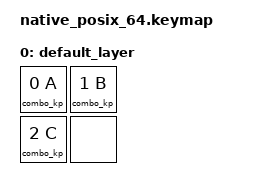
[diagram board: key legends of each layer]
#include <dt-bindings/zmk/keys.h>
#include <behaviors.dtsi>
#include <dt-bindings/zmk/kscan_mock.h>

/*
    combo 01 timeout 50
    combo 012 timeout 100
    AB is pressed within 50ms, C is never pressed.
    expected outcome: AB after 100ms
*/
/ {
    combos {
        compatible = "zmk,combos";
        combo_two {
            timeout-ms = <50>;
            triggers = <0 1>;
            bindings = <&kp Y>;
        };

        combo_three {
            timeout-ms = <100>;
            triggers = <0 1 2>;
            bindings = <&kp X>;
        };
    };

    keymap {
        compatible = "zmk,keymap";

        default_layer {
            bindings = <
                &combo_kp 0 A &combo_kp 1 B
                &combo_kp 2 C &none
            >;
        };
    };
};

&kscan {
    events = <
        /* if you're debugging these, remember that the timer can be triggered between
          events while stepping through code. */
        /* all permutations of combo two press and release, combo triggered by timeout */
        ZMK_MOCK_PRESS(0,0,10)
        ZMK_MOCK_PRESS(0,1,100)
        ZMK_MOCK_RELEASE(0,0,10)
        ZMK_MOCK_RELEASE(0,1,10)

        ZMK_MOCK_PRESS(0,1,10)
        ZMK_MOCK_PRESS(0,0,100)
        ZMK_MOCK_RELEASE(0,1,10)
        ZMK_MOCK_RELEASE(0,0,10)

        ZMK_MOCK_PRESS(0,1,10)
        ZMK_MOCK_PRESS(0,0,100)
        ZMK_MOCK_RELEASE(0,0,10)
        ZMK_MOCK_RELEASE(0,1,10)

        ZMK_MOCK_PRESS(0,0,10)
        ZMK_MOCK_PRESS(0,1,100)
        ZMK_MOCK_RELEASE(0,1,10)
        ZMK_MOCK_RELEASE(0,0,10)
    >;
};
